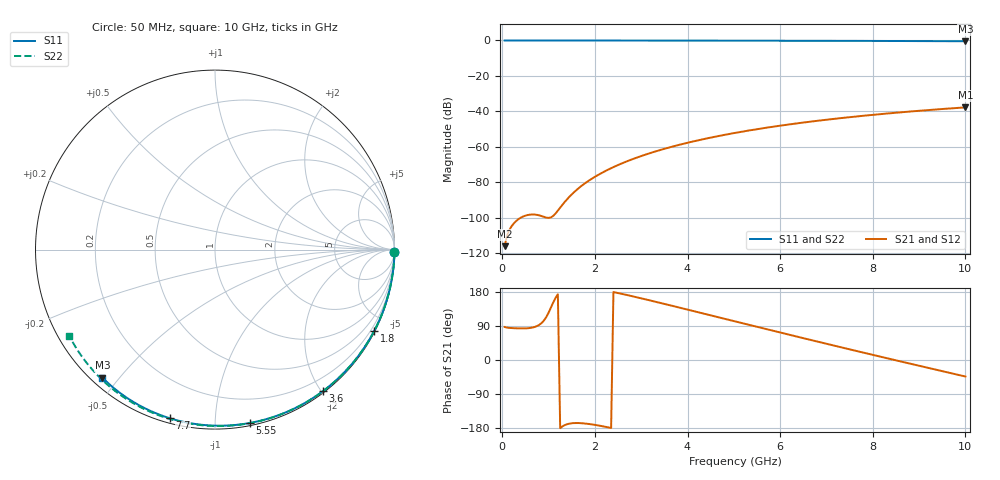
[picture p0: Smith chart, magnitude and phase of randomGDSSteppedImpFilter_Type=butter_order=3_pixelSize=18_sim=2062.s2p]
! freq	dB(S11)	phase(S11)	dB(S12)	phase(S12)
!  dB(S21)	phase(S21)	dB(S22)	phase(S22)
!S-par simulation data
#  GHz  S  DB  R 50
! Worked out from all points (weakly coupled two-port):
!   200 points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, 50 MHz to 10 GHz, reference 50 ohm
!   highest |S21| = -37.77 dB at 10 GHz (marker M1); lowest = -116.1 dB at 50 MHz (marker M2)
!   lowest |S11| = -0.4 dB at 10 GHz (marker M3), VSWR 39.04, Z = 1.54 - j22.6 ohm
!   |S11| at or under -10 dB: nowhere
!   |S22| runs from -0.5 to 0.0 dB; largest |S21 - S12| = 0
!   S11 on the Smith chart (normalised r, x): 50 MHz: open; 1.8 GHz: 0.04, -4.17; 3.6 GHz: 0.02, -2.02; 5.55 GHz: 0.02, -1.22; 7.7 GHz: 0.02, -0.77; 10 GHz: 0.03, -0.45
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0.05  -0.00 -0.8  -116.11 87.2  -116.11 87.2  -0.00 -0.9
0.45  -0.01 -6.8  -99.36 83.3  -99.36 83.3  -0.01 -7.8
0.9  -0.02 -13.6  -99.58 104.3  -99.58 104.3  -0.02 -15.4
1.3  -0.02 -19.6  -92.68 -175.1  -92.68 -175.1  -0.03 -22.2
1.75  -0.03 -26.2  -81.30 -167.2  -81.30 -167.2  -0.04 -29.7
1.8  -0.03 -27.0  -80.35 -167.8  -80.35 -167.8  -0.04 -30.6
1.85  -0.04 -27.7  -79.45 -168.5  -79.45 -168.5  -0.04 -31.4
2.05  -0.04 -30.6  -76.18 -172.2  -76.18 -172.2  -0.04 -34.7
2.2  -0.04 -32.8  -74.04 -175.6  -74.04 -175.6  -0.05 -37.2
2.5  -0.05 -37.1  -70.30 176.8  -70.30 176.8  -0.05 -42.1
2.9  -0.06 -42.9  -66.15 165.6  -66.15 165.6  -0.06 -48.5
3.4  -0.07 -49.9  -61.90 151.0  -61.90 151.0  -0.08 -56.5
3.6  -0.07 -52.7  -60.42 145.0  -60.42 145.0  -0.08 -59.6
4.3  -0.09 -62.3  -55.94 123.9  -55.94 123.9  -0.10 -70.4
5.05  -0.11 -72.2  -52.06 101.2  -52.06 101.2  -0.13 -81.5
5.55  -0.13 -78.7  -49.87 86.1  -49.87 86.1  -0.15 -88.8
6.1  -0.15 -85.6  -47.73 69.6  -47.73 69.6  -0.17 -96.6
6.7  -0.18 -93.0  -45.67 51.7  -45.67 51.7  -0.20 -105.0
7.7  -0.24 -105.0  -42.76 22.3  -42.76 22.3  -0.27 -118.6
8.35  -0.29 -112.6  -41.14 3.4  -41.14 3.4  -0.33 -127.3
9.2  -0.36 -122.3  -39.28 -20.9  -39.28 -20.9  -0.41 -138.6
10  -0.45 -131.3  -37.77 -43.6  -37.77 -43.6  -0.51 -149.4
